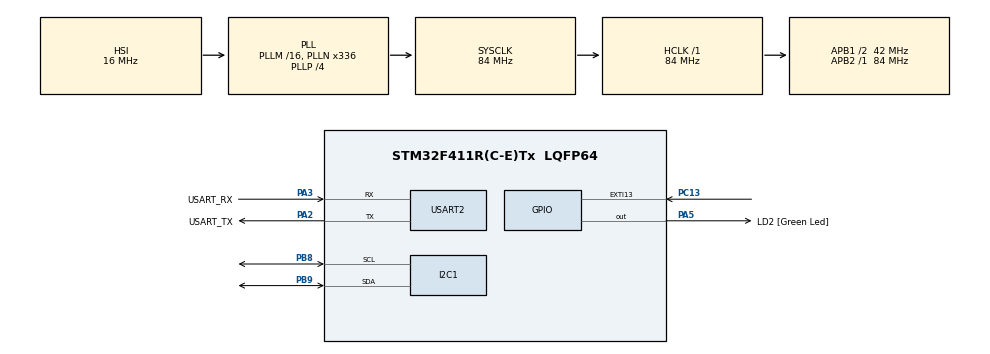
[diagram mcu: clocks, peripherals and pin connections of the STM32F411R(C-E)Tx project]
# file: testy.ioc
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Mcu.Family=STM32F4
Mcu.Name=STM32F411R(C-E)Tx
Mcu.Package=LQFP64
NVIC.EXTI15_10_IRQn=true\:0\:0\:false\:false\:true\:true\:true\:true
NVIC.PriorityGroup=NVIC_PRIORITYGROUP_0
PA13.GPIO_Label=TMS
PA13.Mode=Serial_Wire
PA13.Signal=SYS_JTMS-SWDIO
PA14.GPIO_Label=TCK
PA14.Mode=Serial_Wire
PA14.Signal=SYS_JTCK-SWCLK
PA2.GPIO_Label=USART_TX
PA2.Mode=Asynchronous
PA2.Signal=USART2_TX
PA3.GPIO_Label=USART_RX
PA3.Mode=Asynchronous
PA3.Signal=USART2_RX
PA5.GPIO_Label=LD2 [Green Led]
PA5.Signal=GPIO_Output
PB3.GPIO_Label=SWO
PB3.Signal=SYS_JTDO-SWO
PB8.Mode=I2C
PB8.Signal=I2C1_SCL
PB9.Mode=I2C
PB9.Signal=I2C1_SDA
PC13-ANTI_TAMP.GPIO_ModeDefaultEXTI=GPIO_MODE_IT_FALLING
PC13-ANTI_TAMP.Signal=GPXTI13
PC14-OSC32_IN.Mode=LSE-External-Oscillator
PC14-OSC32_IN.Signal=RCC_OSC32_IN
PC15-OSC32_OUT.Mode=LSE-External-Oscillator
PC15-OSC32_OUT.Signal=RCC_OSC32_OUT
PH0\ -\ OSC_IN.Mode=HSE-External-Clock-Source
PH0\ -\ OSC_IN.Signal=RCC_OSC_IN
PH1\ -\ OSC_OUT.Mode=HSE-External-Clock-Source
PH1\ -\ OSC_OUT.Signal=RCC_OSC_OUT
ProjectManager.HeapSize=0x200
ProjectManager.StackSize=0x400
ProjectManager.TargetToolchain=STM32CubeIDE
RCC.48MHZClocksFreq_Value=84000000
RCC.AHBFreq_Value=84000000
RCC.APB1CLKDivider=RCC_HCLK_DIV2
RCC.APB1Freq_Value=42000000
RCC.APB1TimFreq_Value=84000000
RCC.APB2Freq_Value=84000000
RCC.APB2TimFreq_Value=84000000
RCC.CortexFreq_Value=84000000
RCC.FLatency-AdvancedSettings=FLASH_LATENCY_2
RCC.HCLKFreq_Value=84000000
RCC.HSE_VALUE=8000000
RCC.HSI_VALUE=16000000
RCC.PLLN=336
RCC.PLLP=RCC_PLLP_DIV4
RCC.SYSCLKFreq_VALUE=84000000
RCC.SYSCLKSource=RCC_SYSCLKSOURCE_PLLCLK
RCC.VCOOutputFreq_Value=336000000
USART2.VirtualMode=VM_ASYNC
board=NUCLEO-F411RE

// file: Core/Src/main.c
/* USER CODE BEGIN Header */
/**
  ******************************************************************************
  * @file           : main.c
  * @brief          : Main program body
  ******************************************************************************
  * @attention
  *
  * Copyright (c) 2026 STMicroelectronics.
  * All rights reserved.
  *
  * This software is licensed under terms that can be found in the LICENSE file
  * in the root directory of this software component.
  * If no LICENSE file comes with this software, it is provided AS-IS.
  *
  ******************************************************************************
  */
/* USER CODE END Header */
#include "main.h"

/* USER CODE BEGIN Includes */
#include <stdbool.h>
#include <stdio.h>
#include <string.h>
#include "sht40.h"
#include "bh1750.h"
/* USER CODE END Includes */

/* USER CODE BEGIN PTD */
typedef enum
{
	NODE_BOOT = 0,
	NODE_OK,
	NODE_SHT40_ERROR,
	NODE_BH1750_ERROR,
	NODE_SENSOR_ERROR, //more than one sensor
	NODE_LOG_ERROR
} node_status_t;

typedef enum
{
	PAGE_LIVE_CLIMATE = 0,
	PAGE_LIVE_AIR,
	PAGE_LIVE_SOIL,
	PAGE_STATUS,
	PAGE_MAINTENANCE
} ui_page_t;
/* USER CODE END PTD */

/* USER CODE BEGIN PD */
#define LED_PIN 5U
#define BUTTON_PIN 13U
#define BUTTON_DEBOUNCE_MS 50U
#define BUTTON_LONG_MS 800U
#define UI_PAGE_COUNT 5U

/* USER CODE END PD */

I2C_HandleTypeDef hi2c1;

UART_HandleTypeDef huart2;

/* USER CODE BEGIN PV */
static node_status_t node_status = NODE_BOOT;
static ui_page_t ui_page = PAGE_LIVE_CLIMATE;
static sht40_sample_t sht40_latest_ok = {0};
static sht40_status_t last_sht40_status = SHT40_OK; /* last read result (ok or error) */
static bh1750_sample_t bh1750_latest_ok = {0};
static bh1750_status_t last_bh1750_status = BH1750_OK;

static volatile uint8_t btn_press_armed = 0;
static volatile uint8_t btn_long_fired = 0;
static volatile uint32_t btn_press_start_ms = 0;
static volatile uint32_t btn_last_edge_ms = 0;
/* USER CODE END PV */

void SystemClock_Config(void);
static void MX_GPIO_Init(void);
static void MX_USART2_UART_Init(void);
static void MX_I2C1_Init(void);

/* USER CODE BEGIN 0 */
static void register_led_init(void)
{
	//peripheral RCC -> register AHB1ENR OR= mask for GPIOAEN
	RCC->AHB1ENR |= RCC_AHB1ENR_GPIOAEN;
	(void)RCC->AHB1ENR;

	// MODER has 2 bits per pin:
	    // 00=input, 01=output, 10=alternate function, 11=analog.
	GPIOA->MODER &= ~(3U << (LED_PIN * 2U)); //reset pin 5 mode bits
	GPIOA->MODER |= (1U << (LED_PIN * 2U));	// set pin 5 to output

	// Output type: 0=push-pull, 1=open-drain.
	GPIOA->OTYPER &= ~(1U << LED_PIN);

	// Output speed: 00=low speed.
	GPIOA->OSPEEDR &= ~(3U << (LED_PIN * 2U));

	// Pull-up/pull-down: 00=no pull.
	GPIOA->PUPDR &= ~(3U << (LED_PIN * 2U));

	// Start with LED off.
	GPIOA->BSRR = (1U << (LED_PIN + 16U));
}

/*static void register_led_toggle(void)
{
	GPIOA->ODR ^= (1U << LED_PIN);
}*/

static void register_led_on(void)
{
	GPIOA->BSRR = (1U << (LED_PIN));
}

static void register_led_off(void)
{
	GPIOA->BSRR = (1U << (LED_PIN + 16U));
}

static void led_status_update(uint32_t now)
{
	switch(node_status)
	{
	case NODE_BOOT:
		register_led_on();
		break;

	case NODE_OK:
	{
		//1Hz blinking
		if ((now % 1000U) < 500U)
			register_led_on();
		else
			register_led_off();
		break;
	}

	case NODE_SHT40_ERROR:
	{
		//double blink
		uint32_t phase = now % 3000U;
		if (phase < 200U || (phase >= 400U && phase < 600U))
			register_led_on();
		else
			register_led_off();
		break;
	}

	case NODE_BH1750_ERROR:
	{
		//triple blink
		uint32_t phase = now % 3000U;
		if (phase < 200U 	|| (phase >= 400U && phase < 600U)
							|| (phase >= 800U && phase < 1000U))
			register_led_on();
		else
			register_led_off();
		break;
	}

	case NODE_LOG_ERROR:
	{
		uint32_t phase = now % 1000U;
		if (phase < 100U 	|| (phase >= 200U && phase < 300U)
							|| phase >= 400U)
			register_led_on();
		else
			register_led_off();
		break;
	}

	case NODE_SENSOR_ERROR:
	{
		//5Hz blinking
		if ((now % 200U) < 100U)
			register_led_on();
		else
			register_led_off();
		break;
	}

	default:
		register_led_off();
		break;
	}
}

static void uart_write(const char *message)
{
	HAL_UART_Transmit(&huart2, (uint8_t*)message, strlen(message), HAL_MAX_DELAY);
}

static void i2c_scan(void)
{
	char line[64];
	uint8_t found = 0;
	uart_write("\r\nI2C Scan Start\r\n");
	for (uint8_t addr = 1; addr < 127; addr++)
	{
		if (HAL_I2C_IsDeviceReady(&hi2c1, (uint8_t)(addr<<1), 1, 10) == HAL_OK)
		{
			snprintf(line, sizeof(line), "Found device at 0x%02X\r\n", addr);
			uart_write(line);
			found++;
		}
	}

	if (found == 0)
	{
		uart_write("No I2C devices were found.\r\n");
	}
	else
	{
		snprintf(line, sizeof(line), "I2C Scan done. Found %u device(s).\r\n", found);
		uart_write(line);
	}
}

static bool button_is_pressed(void)
{
	return (GPIOC->IDR & (1U << BUTTON_PIN)) == 0U;
}

static void ui_show_page(void)
{
	char title[20];
	char data[20];

	switch(ui_page)
	{
	case PAGE_LIVE_CLIMATE:
		snprintf(title, sizeof(title), "LIVE CLIMATE");
		snprintf(data, sizeof(data), "%4.1fC   %4.1f%%RH",
				sht40_latest_ok.temp_c, sht40_latest_ok.rh_pct);
		break;

	case PAGE_LIVE_AIR:
		snprintf(title, sizeof(title), "LIVE AIR");
		snprintf(data, sizeof(data), "Lx %4.1f  CO2 --", bh1750_latest_ok.lux);
		break;

	case PAGE_LIVE_SOIL:
		snprintf(title, sizeof(title), "LIVE SOIL");
		snprintf(data, sizeof(data), "Soil --");
		break;

	case PAGE_STATUS:
		snprintf(title, sizeof(title), "STATUS");
		if (node_status == NODE_OK)
			snprintf(data, sizeof(data), "OK");
		else if (node_status == NODE_SHT40_ERROR)
			snprintf(data, sizeof(data), "SHT40 ERR %-3s",
					sht40_status_str(last_sht40_status));
		else if (node_status == NODE_BH1750_ERROR)
				snprintf(data, sizeof(data), "BH1750 ERR %-3s",
						bh1750_status_str(last_bh1750_status));
		else if (node_status == NODE_SENSOR_ERROR)
			snprintf(data, sizeof(data), "ERR MULTI SENSOR");
		else if (node_status == NODE_LOG_ERROR)
			snprintf(data, sizeof(data), "ERR LOG");
		else
			snprintf(data, sizeof(data), "BOOT");
		break;

	case PAGE_MAINTENANCE:
	default:
		snprintf(title, sizeof(title), "MAINT");
		snprintf(data, sizeof(data), "Hold=heater");
		break;
	}

	uart_write(title);
	uart_write("\r\n");
	uart_write(data);
	uart_write("\r\n");
}

static void ui_short_press(void)
{
	ui_page = (ui_page_t)(((unsigned)ui_page + 1U) % UI_PAGE_COUNT);
	ui_show_page();
}

static void ui_heater_once(sht40_sample_t *sample)
{
	char line[48];
	sht40_status_t rch = sht40_read_heater_sample(sample);

	if (rch == SHT40_OK)
	{
		node_status = NODE_OK;
		last_sht40_status = SHT40_OK;
		sht40_latest_ok = *sample;
		snprintf(line, sizeof(line),
				 "[heater] %4.1fC %4.1f%%RH\r\n",
				 sample->temp_c,
				 sample->rh_pct);
		uart_write(line);
	}
	else
	{
		node_status = NODE_SHT40_ERROR;
		last_sht40_status = rch;
		ui_page = PAGE_STATUS;
		ui_show_page();
		snprintf(line, sizeof(line),
		             "SHT40 error: %s\r\n", sht40_status_str(rch));
		uart_write(line);
	}
}

/* Must come after ui_short_press / ui_heater_once (or declare prototypes above). */
static void button_ui_process(uint32_t now, sht40_sample_t *sample)
{
	if (btn_press_armed == 0U)
		return;

	uint32_t held = now - btn_press_start_ms;

	if (button_is_pressed())
	{
		if (btn_long_fired == 0U && held >= BUTTON_LONG_MS)
		{
			btn_long_fired = 1U;
			if (ui_page == PAGE_MAINTENANCE)
				ui_heater_once(sample);
		}
		return;
	}

	btn_press_armed = 0U;

	if (btn_long_fired != 0U)
		return;

	if (held < BUTTON_DEBOUNCE_MS)
		return;

	ui_short_press();
}
/* USER CODE END 0 */

int main(void)
{

  /* MCU Configuration--------------------------------------------------------*/

  /* Reset of all peripherals, Initializes the Flash interface and the Systick. */
  HAL_Init();

  /* Configure the system clock */
  SystemClock_Config();

  /* Initialize all configured peripherals */
  MX_GPIO_Init();
  MX_USART2_UART_Init();
  MX_I2C1_Init();
  /* USER CODE BEGIN 2 */
  register_led_init();
  register_led_on();
  uart_write("\r\nSTM32 plant node boot\r\n");
  ui_show_page();
  i2c_scan();
  node_status = NODE_OK;
  /* USER CODE END 2 */

  /* Infinite loop */
  /* USER CODE BEGIN WHILE */
  uint32_t last_sensor_ms = 0;
  sht40_sample_t sample = {0};
  bh1750_sample_t light = {0};
  while (1)
  {
    /* USER CODE END WHILE */

    /* USER CODE BEGIN 3 */
	  uint32_t now = HAL_GetTick();
	  led_status_update(now);
	  button_ui_process(now, &sample);

	  if ((now - last_sensor_ms) >= 1000)
	  {
		  last_sensor_ms = now;

		  sht40_status_t sht40_rc = sht40_read_normal_sample(&sample);
		  bh1750_status_t bh1750_rc = bh1750_read_sample(&light);

		  last_sht40_status = sht40_rc;
		  last_bh1750_status = bh1750_rc;

		  node_status_t prev = node_status;

		  if (sht40_rc == SHT40_OK) sht40_latest_ok = sample;
		  if (bh1750_rc == BH1750_OK) bh1750_latest_ok = light;

		  if ((sht40_rc != SHT40_OK) && (bh1750_rc != BH1750_OK))
			  node_status = NODE_SENSOR_ERROR;
		  else if (sht40_rc != SHT40_OK)
			  node_status = NODE_SHT40_ERROR;
		  else if (bh1750_rc != BH1750_OK)
			  node_status = NODE_BH1750_ERROR;
		  else
			  node_status = NODE_OK;

		  if (node_status != NODE_OK && (prev != node_status || ui_page != PAGE_STATUS))
			  ui_page = PAGE_STATUS;

		  ui_show_page();

	  }
  }
  /* USER CODE END 3 */
}

void SystemClock_Config(void)
{
  RCC_OscInitTypeDef RCC_OscInitStruct = {0};
  RCC_ClkInitTypeDef RCC_ClkInitStruct = {0};

  /** Configure the main internal regulator output voltage
  */
  __HAL_RCC_PWR_CLK_ENABLE();
  __HAL_PWR_VOLTAGESCALING_CONFIG(PWR_REGULATOR_VOLTAGE_SCALE1);

  /** Initializes the RCC Oscillators according to the specified parameters
  * in the RCC_OscInitTypeDef structure.
  */
  RCC_OscInitStruct.OscillatorType = RCC_OSCILLATORTYPE_HSI;
  RCC_OscInitStruct.HSIState = RCC_HSI_ON;
  RCC_OscInitStruct.HSICalibrationValue = RCC_HSICALIBRATION_DEFAULT;
  RCC_OscInitStruct.PLL.PLLState = RCC_PLL_ON;
  RCC_OscInitStruct.PLL.PLLSource = RCC_PLLSOURCE_HSI;
  RCC_OscInitStruct.PLL.PLLM = 16;
  RCC_OscInitStruct.PLL.PLLN = 336;
  RCC_OscInitStruct.PLL.PLLP = RCC_PLLP_DIV4;
  RCC_OscInitStruct.PLL.PLLQ = 4;
  if (HAL_RCC_OscConfig(&RCC_OscInitStruct) != HAL_OK)
  {
    Error_Handler();
  }

  /** Initializes the CPU, AHB and APB buses clocks
  */
  RCC_ClkInitStruct.ClockType = RCC_CLOCKTYPE_HCLK|RCC_CLOCKTYPE_SYSCLK
                              |RCC_CLOCKTYPE_PCLK1|RCC_CLOCKTYPE_PCLK2;
  RCC_ClkInitStruct.SYSCLKSource = RCC_SYSCLKSOURCE_PLLCLK;
  RCC_ClkInitStruct.AHBCLKDivider = RCC_SYSCLK_DIV1;
  RCC_ClkInitStruct.APB1CLKDivider = RCC_HCLK_DIV2;
  RCC_ClkInitStruct.APB2CLKDivider = RCC_HCLK_DIV1;

  if (HAL_RCC_ClockConfig(&RCC_ClkInitStruct, FLASH_LATENCY_2) != HAL_OK)
  {
    Error_Handler();
  }
}

static void MX_I2C1_Init(void)
{

  hi2c1.Instance = I2C1;
  hi2c1.Init.ClockSpeed = 100000;
  hi2c1.Init.DutyCycle = I2C_DUTYCYCLE_2;
  hi2c1.Init.OwnAddress1 = 0;
  hi2c1.Init.AddressingMode = I2C_ADDRESSINGMODE_7BIT;
  hi2c1.Init.DualAddressMode = I2C_DUALADDRESS_DISABLE;
  hi2c1.Init.OwnAddress2 = 0;
  hi2c1.Init.GeneralCallMode = I2C_GENERALCALL_DISABLE;
  hi2c1.Init.NoStretchMode = I2C_NOSTRETCH_DISABLE;
  if (HAL_I2C_Init(&hi2c1) != HAL_OK)
  {
    Error_Handler();
  }

}

static void MX_USART2_UART_Init(void)
{

  huart2.Instance = USART2;
  huart2.Init.BaudRate = 115200;
  huart2.Init.WordLength = UART_WORDLENGTH_8B;
  huart2.Init.StopBits = UART_STOPBITS_1;
  huart2.Init.Parity = UART_PARITY_NONE;
  huart2.Init.Mode = UART_MODE_TX_RX;
  huart2.Init.HwFlowCtl = UART_HWCONTROL_NONE;
  huart2.Init.OverSampling = UART_OVERSAMPLING_16;
  if (HAL_UART_Init(&huart2) != HAL_OK)
  {
    Error_Handler();
  }

}

static void MX_GPIO_Init(void)
{
  GPIO_InitTypeDef GPIO_InitStruct = {0};

  /* GPIO Ports Clock Enable */
  __HAL_RCC_GPIOC_CLK_ENABLE();
  __HAL_RCC_GPIOH_CLK_ENABLE();
  __HAL_RCC_GPIOA_CLK_ENABLE();
  __HAL_RCC_GPIOB_CLK_ENABLE();

  /*Configure GPIO pin : PC13 */
  GPIO_InitStruct.Pin = GPIO_PIN_13;
  GPIO_InitStruct.Mode = GPIO_MODE_IT_FALLING;
  GPIO_InitStruct.Pull = GPIO_NOPULL;
  HAL_GPIO_Init(GPIOC, &GPIO_InitStruct);

  /*Configure GPIO pin : LD2_Pin */
  GPIO_InitStruct.Pin = LD2_Pin;
  GPIO_InitStruct.Mode = GPIO_MODE_OUTPUT_PP;
  GPIO_InitStruct.Pull = GPIO_NOPULL;
  GPIO_InitStruct.Speed = GPIO_SPEED_FREQ_LOW;
  HAL_GPIO_Init(LD2_GPIO_Port, &GPIO_InitStruct);

  /* EXTI interrupt init*/
  HAL_NVIC_SetPriority(EXTI15_10_IRQn, 0, 0);
  HAL_NVIC_EnableIRQ(EXTI15_10_IRQn);

}

/* USER CODE BEGIN 4 */
void HAL_GPIO_EXTI_Callback(uint16_t GPIO_pin)
{
	if(GPIO_pin != GPIO_PIN_13)
		return;
	uint32_t now = HAL_GetTick();
	if ((now - btn_last_edge_ms) < BUTTON_DEBOUNCE_MS)
		return;

	btn_last_edge_ms = now;
	btn_press_start_ms = now;
	btn_press_armed = 1U;
	btn_long_fired = 0U;
}
/* USER CODE END 4 */

void Error_Handler(void)
{
  __disable_irq();
  while (1)
  {
  }
}
